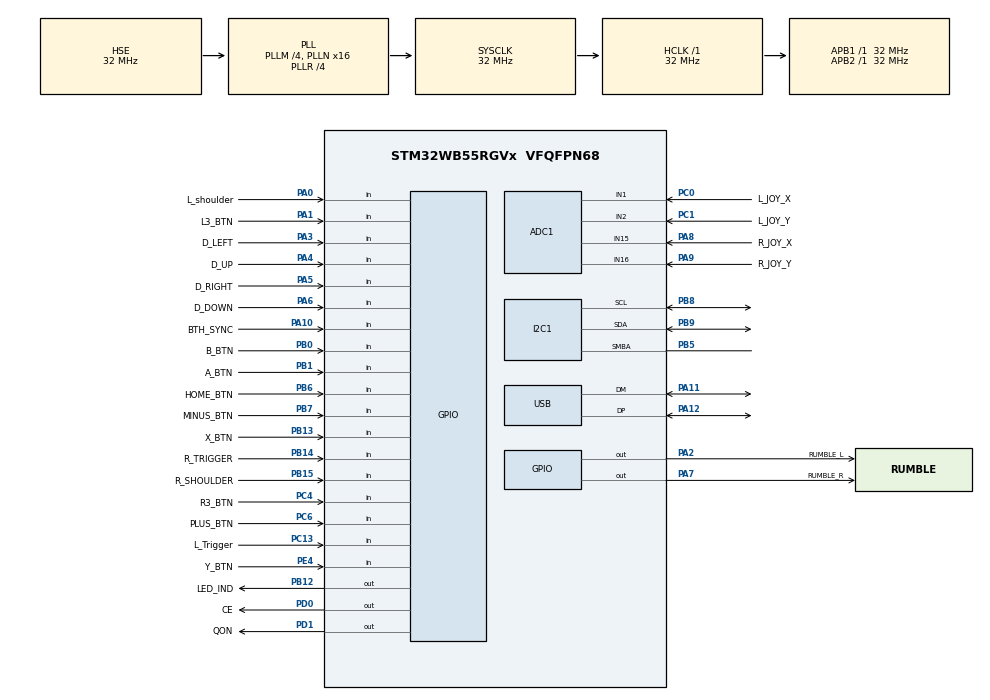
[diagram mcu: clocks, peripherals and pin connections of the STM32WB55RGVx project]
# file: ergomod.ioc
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ADC1.Channel-0\#ChannelRegularConversion=ADC_CHANNEL_1
ADC1.ContinuousConvMode=ENABLE
ADC1.NbrOfConversionFlag=1
ADC1.OffsetNumber-0\#ChannelRegularConversion=ADC_OFFSET_NONE
ADC1.Rank-0\#ChannelRegularConversion=1
ADC1.SamplingTime-0\#ChannelRegularConversion=ADC_SAMPLETIME_2CYCLES_5
ADC1.master=1
Dma.ADC1.0.Direction=DMA_PERIPH_TO_MEMORY
Dma.ADC1.0.EventEnable=DISABLE
Dma.ADC1.0.Instance=DMA1_Channel1
Dma.ADC1.0.MemDataAlignment=DMA_MDATAALIGN_WORD
Dma.ADC1.0.MemInc=DMA_MINC_ENABLE
Dma.ADC1.0.Mode=DMA_CIRCULAR
Dma.ADC1.0.PeriphDataAlignment=DMA_PDATAALIGN_WORD
Dma.ADC1.0.PeriphInc=DMA_PINC_DISABLE
Dma.ADC1.0.Polarity=HAL_DMAMUX_REQ_GEN_RISING
Dma.ADC1.0.Priority=DMA_PRIORITY_LOW
Dma.ADC1.0.RequestNumber=1
Dma.ADC1.0.SignalID=NONE
Dma.ADC1.0.SyncEnable=DISABLE
Dma.ADC1.0.SyncPolarity=HAL_DMAMUX_SYNC_NO_EVENT
Dma.ADC1.0.SyncRequestNumber=1
Dma.ADC1.0.SyncSignalID=NONE
Dma.Request0=ADC1
I2C1.Timeout=0x00008186
I2C1.Timing=0x00707CBB
Mcu.Family=STM32WB
Mcu.Name=STM32WB55RGVx
Mcu.Package=VFQFPN68
NVIC.DMA1_Channel1_IRQn=true\:0\:0\:false\:false\:true\:false\:true\:true
NVIC.HSEM_IRQn=true\:0\:0\:false\:false\:true\:false\:true\:true
NVIC.I2C1_ER_IRQn=true\:0\:0\:false\:false\:true\:true\:true\:true
NVIC.I2C1_EV_IRQn=true\:0\:0\:false\:false\:true\:true\:true\:true
NVIC.PriorityGroup=NVIC_PRIORITYGROUP_4
NVIC.USB_LP_IRQn=true\:0\:0\:false\:false\:true\:false\:true\:true
OSC_IN.Mode=HSE-External-Oscillator
OSC_IN.Signal=RCC_OSC_IN
OSC_OUT.Mode=HSE-External-Oscillator
OSC_OUT.Signal=RCC_OSC_OUT
PA0.GPIO_Label=L_shoulder
PA0.GPIO_PuPd=GPIO_PULLUP
PA0.Signal=GPIO_Input
PA1.GPIO_Label=L3_BTN
PA1.GPIO_PuPd=GPIO_PULLUP
PA1.Signal=GPIO_Input
PA10.GPIO_Label=BTH_SYNC
PA10.GPIO_PuPd=GPIO_PULLUP
PA10.Signal=GPIO_Input
PA11.Mode=Device
PA11.Signal=USB_DM
PA12.Mode=Device
PA12.Signal=USB_DP
PA13.Mode=Trace_Asynchronous_SW
PA13.Signal=SYS_JTMS-SWDIO
PA14.Mode=Trace_Asynchronous_SW
PA14.Signal=SYS_JTCK-SWCLK
PA2.GPIO_Label=RUMBLE_L
PA2.Signal=GPIO_Output
PA3.GPIO_Label=D_LEFT
PA3.GPIO_PuPd=GPIO_PULLUP
PA3.Signal=GPIO_Input
PA4.GPIO_Label=D_UP
PA4.GPIO_PuPd=GPIO_PULLUP
PA4.Signal=GPIO_Input
PA5.GPIO_Label=D_RIGHT
PA5.GPIO_PuPd=GPIO_PULLUP
PA5.Signal=GPIO_Input
PA6.GPIO_Label=D_DOWN
PA6.GPIO_PuPd=GPIO_PULLUP
PA6.Signal=GPIO_Input
PA7.GPIO_Label=RUMBLE_R
PA7.Signal=GPIO_Output
PA8.GPIO_Label=R_JOY_X
PA8.Signal=ADCx_IN15
PA9.GPIO_Label=R_JOY_Y
PA9.Signal=ADCx_IN16
PB0.GPIO_Label=B_BTN
PB0.GPIO_PuPd=GPIO_PULLUP
PB0.Signal=GPIO_Input
PB1.GPIO_Label=A_BTN
PB1.GPIO_PuPd=GPIO_PULLUP
PB1.Signal=GPIO_Input
PB12.GPIO_Label=LED_IND
PB12.Signal=GPIO_Output
PB13.GPIO_Label=X_BTN
PB13.GPIO_PuPd=GPIO_PULLUP
PB13.Signal=GPIO_Input
PB14.GPIO_Label=R_TRIGGER
PB14.GPIO_PuPd=GPIO_PULLUP
PB14.Signal=GPIO_Input
PB15.GPIO_Label=R_SHOULDER
PB15.GPIO_PuPd=GPIO_PULLUP
PB15.Signal=GPIO_Input
PB3.Mode=Trace_Asynchronous_SW
PB3.Signal=SYS_JTDO-SWO
PB5.Mode=SMBus-Alert-mode
PB5.Signal=I2C1_SMBA
PB6.GPIO_Label=HOME_BTN
PB6.GPIO_PuPd=GPIO_PULLUP
PB6.Signal=GPIO_Input
PB7.GPIO_Label=MINUS_BTN
PB7.GPIO_PuPd=GPIO_PULLUP
PB7.Signal=GPIO_Input
PB8.Mode=SMBus-Alert-mode
PB8.Signal=I2C1_SCL
PB9.Mode=SMBus-Alert-mode
PB9.Signal=I2C1_SDA
PC0.GPIO_Label=L_JOY_X
PC0.Signal=ADCx_IN1
PC1.GPIO_Label=L_JOY_Y
PC1.Signal=ADCx_IN2
PC13.GPIO_Label=L_Trigger
PC13.GPIO_PuPd=GPIO_PULLUP
PC13.Signal=GPIO_Input
PC14-OSC32_IN.Mode=LSE-External-Oscillator
PC14-OSC32_IN.Signal=RCC_OSC32_IN
PC15-OSC32_OUT.Mode=LSE-External-Oscillator
PC15-OSC32_OUT.Signal=RCC_OSC32_OUT
PC4.GPIO_Label=R3_BTN
PC4.GPIO_PuPd=GPIO_PULLUP
PC4.Signal=GPIO_Input
PC6.GPIO_Label=PLUS_BTN
PC6.GPIO_PuPd=GPIO_PULLUP
PC6.Signal=GPIO_Input
PD0.GPIO_Label=CE
PD0.Signal=GPIO_Output
PD1.GPIO_Label=QON
PD1.Signal=GPIO_Output
PE4.GPIO_Label=Y_BTN
PE4.GPIO_PuPd=GPIO_PULLUP
PE4.Signal=GPIO_Input
ProjectManager.HeapSize=0x200
ProjectManager.StackSize=0x400
ProjectManager.TargetToolchain=STM32CubeIDE
RCC.ADCFreq_Value=12000000
RCC.AHBFreq_Value=32000000
RCC.APB1Freq_Value=32000000
RCC.APB1TimFreq_Value=32000000
RCC.APB2Freq_Value=32000000
RCC.APB2TimFreq_Value=32000000
RCC.APB3Freq_Value=16000000
RCC.CortexFreq_Value=32000000
RCC.HCLKFreq_Value=32000000
RCC.HSE_VALUE=32000000
RCC.HSI48_VALUE=48000000
RCC.HSI_VALUE=16000000
RCC.LPTIM1CLockSelection=RCC_LPTIM1CLKSOURCE_LSI
RCC.PLLM=RCC_PLLM_DIV4
RCC.PLLN=16
RCC.PLLR=RCC_PLLR_DIV4
RCC.PLLSAI1N=12
RCC.PLLSAI1R=RCC_PLLR_DIV8
RCC.PLLSourceVirtual=RCC_PLLSOURCE_HSE
RCC.SMPSCLockSelection=RCC_SMPSCLKSOURCE_HSE
RCC.SMPSCLockSelectionVirtual=RCC_SMPSCLKSOURCE_HSE
RCC.SYSCLKFreq_VALUE=32000000
RCC.SYSCLKSource=RCC_SYSCLKSOURCE_PLLCLK
RCC.USBFreq_Value=48000000
RCC.VCOOutputFreq_Value=128000000
RF1.Mode=RF1_Activate
RF1.Signal=RF_RF1
SH.ADCx_IN1.0=ADC1_IN1,IN1-Single-Ended
SH.ADCx_IN15.0=ADC1_IN15,IN15-Single-Ended
SH.ADCx_IN16.0=ADC1_IN16,IN16-Single-Ended
SH.ADCx_IN2.0=ADC1_IN2,IN2-Single-Ended
USB_DEVICE.CLASS_NAME_FS=HID
USB_DEVICE.VirtualMode=Hid
USB_DEVICE.VirtualModeFS=Hid_FS
VP_ADC1_TempSens_Input.Mode=IN-TempSens
VP_ADC1_Vbat_Input.Mode=IN-Vbat
VP_ADC1_Vref_Input.Mode=IN-Vrefint
VP_HSEM_VS_HSEM.Mode=HSEM_Activate
VP_IPCC_VS_IPCC.Mode=IPCC_Activate
VP_LPTIM1_VS_LPTIM_counterModeInternalClock.Mode=Counts__internal_clock_event_00
VP_MEMORYMAP_VS_MEMORYMAP.Mode=CurAppReg
VP_RTC_VS_RTC_Activate.Mode=RTC_Enabled
VP_RTC_VS_RTC_WakeUp_intern.Mode=WakeUp
VP_TIM1_VS_ClockSourceINT.Mode=Internal
VP_USB_DEVICE_VS_USB_DEVICE_HID_FS.Mode=HID_FS
board=custom

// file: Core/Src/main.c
/* USER CODE BEGIN Header */
/**
  ******************************************************************************
  * @file           : main.c
  * @brief          : Main program body
  ******************************************************************************
  * @attention
  *
  * Copyright (c) 2024 STMicroelectronics.
  * All rights reserved.
  *
  * This software is licensed under terms that can be found in the LICENSE file
  * in the root directory of this software component.
  * If no LICENSE file comes with this software, it is provided AS-IS.
  *
  ******************************************************************************
  */
/* USER CODE END Header */
#include "main.h"
#include "usb_device.h"

ADC_HandleTypeDef hadc1;
DMA_HandleTypeDef hdma_adc1;

SMBUS_HandleTypeDef hsmbus1;

IPCC_HandleTypeDef hipcc;

LPTIM_HandleTypeDef hlptim1;

RTC_HandleTypeDef hrtc;

TIM_HandleTypeDef htim1;

/* USER CODE BEGIN PV */
uint32_t previousMillis = 0;
uint32_t currentMillis = 0;
uint32_t counterOutside = 0; //For testing only (button feedback)
uint32_t counterInside = 0; //For testing only (button feedback)

uint8_t rxData; // bluetooth data
/* USER CODE END PV */

void SystemClock_Config(void);
void PeriphCommonClock_Config(void);
static void MX_GPIO_Init(void);
static void MX_DMA_Init(void);
static void MX_ADC1_Init(void);
static void MX_I2C1_SMBUS_Init(void);
static void MX_IPCC_Init(void);
static void MX_TIM1_Init(void);
static void MX_LPTIM1_Init(void);
static void MX_RTC_Init(void);
static void MX_RF_Init(void);

/* USER CODE BEGIN 0 */
uint32_t VR[2];	// store 12 bit ADC values for joystick
/* USER CODE END 0 */

int main(void)
{

  /* MCU Configuration--------------------------------------------------------*/

  /* Reset of all peripherals, Initializes the Flash interface and the Systick. */
  HAL_Init();

  /* Configure the system clock */
  SystemClock_Config();

/* Configure the peripherals common clocks */
  PeriphCommonClock_Config();

  /* IPCC initialisation */
  MX_IPCC_Init();

  /* Initialize all configured peripherals */
  MX_GPIO_Init();
  MX_DMA_Init();
  MX_ADC1_Init();
  MX_I2C1_SMBUS_Init();
  MX_USB_Device_Init();
  MX_TIM1_Init();
  MX_LPTIM1_Init();
  MX_RTC_Init();
  MX_RF_Init();
  /* USER CODE BEGIN 2 */

  //HAL_UART_Receive_IT(&huart1,&rxData,1); // Enabling interrupt receive
  HAL_ADC_Start_DMA(&hadc1, VR, 2); // start ADC in DMA mode for multichannel

  /* USER CODE END 2 */

  /* Infinite loop */
  while (1)
  {

    /* USER CODE BEGIN 3 */
	  if(HAL_GPIO_ReadPin(A_BTN_GPIO_PORT, A_BTN_PIN) == 0) {
		  HAL_GPIO_WritePin(LED_IND_GPIO_PORT, LED_IND_PIN, SET);
	  } else {
		  HAL_GPIO_WritePin(LED_IND_GPIO_PORT, LED_IND_PIN, RESET);
	  }

	// joystick movement
//	if ((VR[0] >= 2000) && (VR[0] <= 3000)) {	// xmin and xplus off
//		HAL_GPIO_WritePin(xmin_GPIO_Port, xmin_Pin, GPIO_PIN_RESET);
//		HAL_GPIO_WritePin(xplus_GPIO_Port, xplus_Pin, GPIO_PIN_RESET);
//	}
//
//	if ((VR[1] >= 2000) && (VR[1] <= 3000)) {	// ymin and yplus off
//		HAL_GPIO_WritePin(ymin_GPIO_Port, ymin_Pin, GPIO_PIN_RESET);
//		HAL_GPIO_WritePin(yplus_GPIO_Port, yplus_Pin, GPIO_PIN_RESET);
//	}
//
//	if ((VR[0] >= 4000)) {	// xplus on
//		HAL_GPIO_WritePin(xmin_GPIO_Port, xmin_Pin, GPIO_PIN_RESET);
//		HAL_GPIO_WritePin(xplus_GPIO_Port, xplus_Pin, GPIO_PIN_SET);
//	}
//
//	if ((VR[0] <= 800)) {	// xmin on
//		HAL_GPIO_WritePin(xmin_GPIO_Port, xmin_Pin, GPIO_PIN_SET);
//		HAL_GPIO_WritePin(xplus_GPIO_Port, xplus_Pin, GPIO_PIN_RESET);
//	}
//
//	if ((VR[1] >= 4000)) {	// yplus on
//		HAL_GPIO_WritePin(ymin_GPIO_Port, ymin_Pin, GPIO_PIN_RESET);
//		HAL_GPIO_WritePin(yplus_GPIO_Port, yplus_Pin, GPIO_PIN_SET);
//	}
//
//	if ((VR[1] <= 800)) {	// ymin on
//		HAL_GPIO_WritePin(ymin_GPIO_Port, ymin_Pin, GPIO_PIN_SET);
//		HAL_GPIO_WritePin(yplus_GPIO_Port, yplus_Pin, GPIO_PIN_RESET);
//	}

  }
  /* USER CODE END 3 */
}

void SystemClock_Config(void)
{
  RCC_OscInitTypeDef RCC_OscInitStruct = {0};
  RCC_ClkInitTypeDef RCC_ClkInitStruct = {0};

  /** Configure the main internal regulator output voltage
  */
  __HAL_PWR_VOLTAGESCALING_CONFIG(PWR_REGULATOR_VOLTAGE_SCALE1);

  /** Initializes the RCC Oscillators according to the specified parameters
  * in the RCC_OscInitTypeDef structure.
  */
  RCC_OscInitStruct.OscillatorType = RCC_OSCILLATORTYPE_HSI|RCC_OSCILLATORTYPE_LSI1
                              |RCC_OSCILLATORTYPE_HSE;
  RCC_OscInitStruct.HSEState = RCC_HSE_ON;
  RCC_OscInitStruct.HSIState = RCC_HSI_ON;
  RCC_OscInitStruct.HSICalibrationValue = RCC_HSICALIBRATION_DEFAULT;
  RCC_OscInitStruct.LSIState = RCC_LSI_ON;
  RCC_OscInitStruct.PLL.PLLState = RCC_PLL_ON;
  RCC_OscInitStruct.PLL.PLLSource = RCC_PLLSOURCE_HSE;
  RCC_OscInitStruct.PLL.PLLM = RCC_PLLM_DIV4;
  RCC_OscInitStruct.PLL.PLLN = 16;
  RCC_OscInitStruct.PLL.PLLP = RCC_PLLP_DIV2;
  RCC_OscInitStruct.PLL.PLLR = RCC_PLLR_DIV4;
  RCC_OscInitStruct.PLL.PLLQ = RCC_PLLQ_DIV2;
  if (HAL_RCC_OscConfig(&RCC_OscInitStruct) != HAL_OK)
  {
    Error_Handler();
  }

  /** Configure the SYSCLKSource, HCLK, PCLK1 and PCLK2 clocks dividers
  */
  RCC_ClkInitStruct.ClockType = RCC_CLOCKTYPE_HCLK4|RCC_CLOCKTYPE_HCLK2
                              |RCC_CLOCKTYPE_HCLK|RCC_CLOCKTYPE_SYSCLK
                              |RCC_CLOCKTYPE_PCLK1|RCC_CLOCKTYPE_PCLK2;
  RCC_ClkInitStruct.SYSCLKSource = RCC_SYSCLKSOURCE_PLLCLK;
  RCC_ClkInitStruct.AHBCLKDivider = RCC_SYSCLK_DIV1;
  RCC_ClkInitStruct.APB1CLKDivider = RCC_HCLK_DIV1;
  RCC_ClkInitStruct.APB2CLKDivider = RCC_HCLK_DIV1;
  RCC_ClkInitStruct.AHBCLK2Divider = RCC_SYSCLK_DIV1;
  RCC_ClkInitStruct.AHBCLK4Divider = RCC_SYSCLK_DIV1;

  if (HAL_RCC_ClockConfig(&RCC_ClkInitStruct, FLASH_LATENCY_1) != HAL_OK)
  {
    Error_Handler();
  }
}

void PeriphCommonClock_Config(void)
{
  RCC_PeriphCLKInitTypeDef PeriphClkInitStruct = {0};

  /** Initializes the peripherals clock
  */
  PeriphClkInitStruct.PeriphClockSelection = RCC_PERIPHCLK_SMPS|RCC_PERIPHCLK_RFWAKEUP
                              |RCC_PERIPHCLK_USB|RCC_PERIPHCLK_ADC;
  PeriphClkInitStruct.PLLSAI1.PLLN = 12;
  PeriphClkInitStruct.PLLSAI1.PLLP = RCC_PLLP_DIV2;
  PeriphClkInitStruct.PLLSAI1.PLLQ = RCC_PLLQ_DIV2;
  PeriphClkInitStruct.PLLSAI1.PLLR = RCC_PLLR_DIV8;
  PeriphClkInitStruct.PLLSAI1.PLLSAI1ClockOut = RCC_PLLSAI1_USBCLK|RCC_PLLSAI1_ADCCLK;
  PeriphClkInitStruct.UsbClockSelection = RCC_USBCLKSOURCE_PLLSAI1;
  PeriphClkInitStruct.AdcClockSelection = RCC_ADCCLKSOURCE_PLLSAI1;
  PeriphClkInitStruct.RFWakeUpClockSelection = RCC_RFWKPCLKSOURCE_HSE_DIV1024;
  PeriphClkInitStruct.SmpsClockSelection = RCC_SMPSCLKSOURCE_HSE;
  PeriphClkInitStruct.SmpsDivSelection = RCC_SMPSCLKDIV_RANGE0;

  if (HAL_RCCEx_PeriphCLKConfig(&PeriphClkInitStruct) != HAL_OK)
  {
    Error_Handler();
  }
}

static void MX_ADC1_Init(void)
{

  ADC_ChannelConfTypeDef sConfig = {0};

  /** Common config
  */
  hadc1.Instance = ADC1;
  hadc1.Init.ClockPrescaler = ADC_CLOCK_ASYNC_DIV1;
  hadc1.Init.Resolution = ADC_RESOLUTION_12B;
  hadc1.Init.DataAlign = ADC_DATAALIGN_RIGHT;
  hadc1.Init.ScanConvMode = ADC_SCAN_DISABLE;
  hadc1.Init.EOCSelection = ADC_EOC_SINGLE_CONV;
  hadc1.Init.LowPowerAutoWait = DISABLE;
  hadc1.Init.ContinuousConvMode = ENABLE;
  hadc1.Init.NbrOfConversion = 1;
  hadc1.Init.DiscontinuousConvMode = DISABLE;
  hadc1.Init.ExternalTrigConv = ADC_SOFTWARE_START;
  hadc1.Init.ExternalTrigConvEdge = ADC_EXTERNALTRIGCONVEDGE_NONE;
  hadc1.Init.DMAContinuousRequests = DISABLE;
  hadc1.Init.Overrun = ADC_OVR_DATA_PRESERVED;
  hadc1.Init.OversamplingMode = DISABLE;
  if (HAL_ADC_Init(&hadc1) != HAL_OK)
  {
    Error_Handler();
  }

  /** Configure Regular Channel
  */
  sConfig.Channel = ADC_CHANNEL_1;
  sConfig.Rank = ADC_REGULAR_RANK_1;
  sConfig.SamplingTime = ADC_SAMPLETIME_2CYCLES_5;
  sConfig.SingleDiff = ADC_SINGLE_ENDED;
  sConfig.OffsetNumber = ADC_OFFSET_NONE;
  sConfig.Offset = 0;
  if (HAL_ADC_ConfigChannel(&hadc1, &sConfig) != HAL_OK)
  {
    Error_Handler();
  }

}

static void MX_I2C1_SMBUS_Init(void)
{

  hsmbus1.Instance = I2C1;
  hsmbus1.Init.Timing = 0x00707CBB;
  hsmbus1.Init.AnalogFilter = SMBUS_ANALOGFILTER_ENABLE;
  hsmbus1.Init.OwnAddress1 = 2;
  hsmbus1.Init.AddressingMode = SMBUS_ADDRESSINGMODE_7BIT;
  hsmbus1.Init.DualAddressMode = SMBUS_DUALADDRESS_DISABLE;
  hsmbus1.Init.OwnAddress2 = 0;
  hsmbus1.Init.OwnAddress2Masks = SMBUS_OA2_NOMASK;
  hsmbus1.Init.GeneralCallMode = SMBUS_GENERALCALL_DISABLE;
  hsmbus1.Init.NoStretchMode = SMBUS_NOSTRETCH_DISABLE;
  hsmbus1.Init.PacketErrorCheckMode = SMBUS_PEC_DISABLE;
  hsmbus1.Init.PeripheralMode = SMBUS_PERIPHERAL_MODE_SMBUS_SLAVE;
  hsmbus1.Init.SMBusTimeout = 0x00008186;
  if (HAL_SMBUS_Init(&hsmbus1) != HAL_OK)
  {
    Error_Handler();
  }

  /** configuration Alert Mode
  */
  if (HAL_SMBUS_EnableAlert_IT(&hsmbus1) != HAL_OK)
  {
    Error_Handler();
  }

}

static void MX_IPCC_Init(void)
{

  hipcc.Instance = IPCC;
  if (HAL_IPCC_Init(&hipcc) != HAL_OK)
  {
    Error_Handler();
  }

}

static void MX_LPTIM1_Init(void)
{

  hlptim1.Instance = LPTIM1;
  hlptim1.Init.Clock.Source = LPTIM_CLOCKSOURCE_APBCLOCK_LPOSC;
  hlptim1.Init.Clock.Prescaler = LPTIM_PRESCALER_DIV1;
  hlptim1.Init.Trigger.Source = LPTIM_TRIGSOURCE_SOFTWARE;
  hlptim1.Init.OutputPolarity = LPTIM_OUTPUTPOLARITY_HIGH;
  hlptim1.Init.UpdateMode = LPTIM_UPDATE_IMMEDIATE;
  hlptim1.Init.CounterSource = LPTIM_COUNTERSOURCE_INTERNAL;
  hlptim1.Init.Input1Source = LPTIM_INPUT1SOURCE_GPIO;
  hlptim1.Init.Input2Source = LPTIM_INPUT2SOURCE_GPIO;
  if (HAL_LPTIM_Init(&hlptim1) != HAL_OK)
  {
    Error_Handler();
  }

}

static void MX_RF_Init(void)
{

}

static void MX_RTC_Init(void)
{

  /** Initialize RTC Only
  */
  hrtc.Instance = RTC;
  hrtc.Init.HourFormat = RTC_HOURFORMAT_24;
  hrtc.Init.AsynchPrediv = 127;
  hrtc.Init.SynchPrediv = 255;
  hrtc.Init.OutPut = RTC_OUTPUT_DISABLE;
  hrtc.Init.OutPutPolarity = RTC_OUTPUT_POLARITY_HIGH;
  hrtc.Init.OutPutType = RTC_OUTPUT_TYPE_OPENDRAIN;
  hrtc.Init.OutPutRemap = RTC_OUTPUT_REMAP_NONE;
  if (HAL_RTC_Init(&hrtc) != HAL_OK)
  {
    Error_Handler();
  }

  /** Enable the WakeUp
  */
  if (HAL_RTCEx_SetWakeUpTimer(&hrtc, 0, RTC_WAKEUPCLOCK_RTCCLK_DIV16) != HAL_OK)
  {
    Error_Handler();
  }

}

static void MX_TIM1_Init(void)
{

  TIM_ClockConfigTypeDef sClockSourceConfig = {0};
  TIM_MasterConfigTypeDef sMasterConfig = {0};

  htim1.Instance = TIM1;
  htim1.Init.Prescaler = 0;
  htim1.Init.CounterMode = TIM_COUNTERMODE_UP;
  htim1.Init.Period = 65535;
  htim1.Init.ClockDivision = TIM_CLOCKDIVISION_DIV1;
  htim1.Init.RepetitionCounter = 0;
  htim1.Init.AutoReloadPreload = TIM_AUTORELOAD_PRELOAD_DISABLE;
  if (HAL_TIM_Base_Init(&htim1) != HAL_OK)
  {
    Error_Handler();
  }
  sClockSourceConfig.ClockSource = TIM_CLOCKSOURCE_INTERNAL;
  if (HAL_TIM_ConfigClockSource(&htim1, &sClockSourceConfig) != HAL_OK)
  {
    Error_Handler();
  }
  sMasterConfig.MasterOutputTrigger = TIM_TRGO_RESET;
  sMasterConfig.MasterOutputTrigger2 = TIM_TRGO2_RESET;
  sMasterConfig.MasterSlaveMode = TIM_MASTERSLAVEMODE_DISABLE;
  if (HAL_TIMEx_MasterConfigSynchronization(&htim1, &sMasterConfig) != HAL_OK)
  {
    Error_Handler();
  }

}

static void MX_DMA_Init(void)
{

  /* DMA controller clock enable */
  __HAL_RCC_DMAMUX1_CLK_ENABLE();
  __HAL_RCC_DMA1_CLK_ENABLE();

  /* DMA interrupt init */
  /* DMA1_Channel1_IRQn interrupt configuration */
  HAL_NVIC_SetPriority(DMA1_Channel1_IRQn, 0, 0);
  HAL_NVIC_EnableIRQ(DMA1_Channel1_IRQn);

}

static void MX_GPIO_Init(void)
{
  GPIO_InitTypeDef GPIO_InitStruct = {0};

  /* GPIO Ports Clock Enable */
  __HAL_RCC_GPIOC_CLK_ENABLE();
  __HAL_RCC_GPIOB_CLK_ENABLE();
  __HAL_RCC_GPIOA_CLK_ENABLE();
  __HAL_RCC_GPIOE_CLK_ENABLE();
  __HAL_RCC_GPIOD_CLK_ENABLE();

  /*Configure GPIO pin Output Level */
  HAL_GPIO_WritePin(GPIOA, RUMBLE_L_Pin|RUMBLE_R_Pin, GPIO_PIN_RESET);

  /*Configure GPIO pin Output Level */
  HAL_GPIO_WritePin(LED_IND_GPIO_Port, LED_IND_Pin, GPIO_PIN_RESET);

  /*Configure GPIO pin Output Level */
  HAL_GPIO_WritePin(GPIOD, CE_Pin|QON_Pin, GPIO_PIN_RESET);

  /*Configure GPIO pins : L_Trigger_Pin R3_BTN_Pin PLUS_BTN_Pin */
  GPIO_InitStruct.Pin = L_Trigger_Pin|R3_BTN_Pin|PLUS_BTN_Pin;
  GPIO_InitStruct.Mode = GPIO_MODE_INPUT;
  GPIO_InitStruct.Pull = GPIO_PULLUP;
  HAL_GPIO_Init(GPIOC, &GPIO_InitStruct);

  /*Configure GPIO pins : L_shoulder_Pin L3_BTN_Pin D_LEFT_Pin D_UP_Pin
                           D_RIGHT_Pin D_DOWN_Pin BTH_SYNC_Pin */
  GPIO_InitStruct.Pin = L_shoulder_Pin|L3_BTN_Pin|D_LEFT_Pin|D_UP_Pin
                          |D_RIGHT_Pin|D_DOWN_Pin|BTH_SYNC_Pin;
  GPIO_InitStruct.Mode = GPIO_MODE_INPUT;
  GPIO_InitStruct.Pull = GPIO_PULLUP;
  HAL_GPIO_Init(GPIOA, &GPIO_InitStruct);

  /*Configure GPIO pins : RUMBLE_L_Pin RUMBLE_R_Pin */
  GPIO_InitStruct.Pin = RUMBLE_L_Pin|RUMBLE_R_Pin;
  GPIO_InitStruct.Mode = GPIO_MODE_OUTPUT_PP;
  GPIO_InitStruct.Pull = GPIO_NOPULL;
  GPIO_InitStruct.Speed = GPIO_SPEED_FREQ_LOW;
  HAL_GPIO_Init(GPIOA, &GPIO_InitStruct);

  /*Configure GPIO pins : B_BTN_Pin A_BTN_Pin X_BTN_Pin R_TRIGGER_Pin
                           R_SHOULDER_Pin HOME_BTN_Pin MINUS_BTN_Pin */
  GPIO_InitStruct.Pin = B_BTN_Pin|A_BTN_Pin|X_BTN_Pin|R_TRIGGER_Pin
                          |R_SHOULDER_Pin|HOME_BTN_Pin|MINUS_BTN_Pin;
  GPIO_InitStruct.Mode = GPIO_MODE_INPUT;
  GPIO_InitStruct.Pull = GPIO_PULLUP;
  HAL_GPIO_Init(GPIOB, &GPIO_InitStruct);

  /*Configure GPIO pin : Y_BTN_Pin */
  GPIO_InitStruct.Pin = Y_BTN_Pin;
  GPIO_InitStruct.Mode = GPIO_MODE_INPUT;
  GPIO_InitStruct.Pull = GPIO_PULLUP;
  HAL_GPIO_Init(Y_BTN_GPIO_Port, &GPIO_InitStruct);

  /*Configure GPIO pin : LED_IND_Pin */
  GPIO_InitStruct.Pin = LED_IND_Pin;
  GPIO_InitStruct.Mode = GPIO_MODE_OUTPUT_PP;
  GPIO_InitStruct.Pull = GPIO_NOPULL;
  GPIO_InitStruct.Speed = GPIO_SPEED_FREQ_LOW;
  HAL_GPIO_Init(LED_IND_GPIO_Port, &GPIO_InitStruct);

  /*Configure GPIO pins : CE_Pin QON_Pin */
  GPIO_InitStruct.Pin = CE_Pin|QON_Pin;
  GPIO_InitStruct.Mode = GPIO_MODE_OUTPUT_PP;
  GPIO_InitStruct.Pull = GPIO_NOPULL;
  GPIO_InitStruct.Speed = GPIO_SPEED_FREQ_LOW;
  HAL_GPIO_Init(GPIOD, &GPIO_InitStruct);

}

/* USER CODE BEGIN 4 */
void HAL_GPIO_EXTI_Callback(uint16_t GPIO_Pin)
{
  counterOutside++; //For testing only (button feedback)
  currentMillis = HAL_GetTick();
  if (GPIO_Pin == GPIO_PIN_1 && (currentMillis - previousMillis > 10))
  {
    counterInside++; //For testing only (button feedback)
    HAL_GPIO_TogglePin(GPIOA, GPIO_PIN_1);
    previousMillis = currentMillis;
  }
}

// for debugging bluetooth with an app (N for off, Y for on) with LED
void HAL_UART_RxCpltCallback(UART_HandleTypeDef *huart)
{
  if(huart->Instance==USART1)
  {
    if(rxData==78) // Ascii value of 'N' is 78 (N for NO)
    {
    	HAL_GPIO_WritePin(GPIOA, GPIO_PIN_1, 0);
    }
    else if (rxData==89) // Ascii value of 'Y' is 89 (Y for YES)
    {
    	HAL_GPIO_WritePin(GPIOA, GPIO_PIN_1, 1);
    }
    HAL_UART_Receive_IT(&huart1,&rxData,1); // Enabling interrupt receive again
  }
}
/* USER CODE END 4 */

void Error_Handler(void)
{
  __disable_irq();
  while (1)
  {
  }
}
